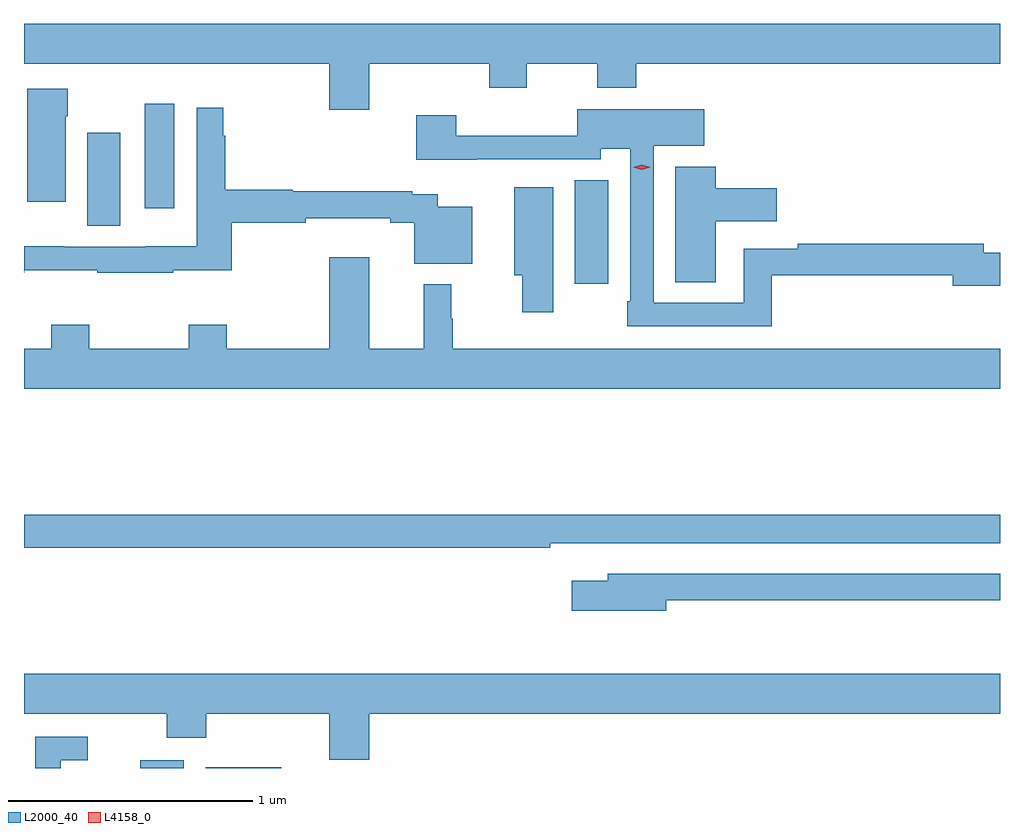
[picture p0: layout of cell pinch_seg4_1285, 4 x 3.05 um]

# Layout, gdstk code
import gdstk
lib = gdstk.Library(unit=1e-6, precision=1e-09)
def R(c, l, rs):  # rectangles x0, y0, x1, y1
    for r in rs: c.add(gdstk.rectangle(r[:2], r[2:], *l))
def P(c, l, *ps):  # polygons
    for p in ps: c.add(gdstk.Polygon(p, *l))
L2000_40 = (2000, 40)
L4158_0 = (4158, 0)

pinch_seg4_1285 = lib.new_cell('pinch_seg4_1285')
R(pinch_seg4_1285, L2000_40, [(284.114,773.953,284.293,773.986), (284.382,773.953,284.692,773.958), (285.896,775.938,286.033,776.363), (283.898,776.176,284.032,776.557), (284.132,776.247,284.254,776.677)])
P(pinch_seg4_1285, L2000_40, [(285.052,776.84),(285.544,776.84),(285.544,776.741),(285.699,776.741),(285.699,776.84),(285.988,776.84),(285.988,776.741),(286.148,776.741),(286.148,776.84),(287.638,776.84),(287.638,777.004),(283.638,777.004),(283.638,776.84),(284.888,776.84),(284.888,776.652),(285.052,776.652)],
  [(283.81,776.624),(283.818,776.624),(283.818,776.737),(283.652,776.737),(283.652,776.274),(283.81,776.274)],
  [(283.639,775.993),(283.939,775.993),(283.939,775.983),(284.249,775.983),(284.249,775.993),(284.489,775.993),(284.489,776.188),(284.792,776.188),(284.792,776.207),(285.14,776.207),(285.14,776.188),(285.237,776.188),(285.237,776.021),(285.475,776.021),(285.475,776.254),(285.333,776.254),(285.333,776.305),(285.23,776.305),(285.23,776.317),(284.739,776.317),(284.739,776.324),(284.462,776.324),(284.462,776.546),(284.455,776.546),(284.455,776.659),(284.346,776.659),(284.346,776.092),(284.136,776.092),(284.136,776.091),(283.802,776.091),(283.802,776.093),(283.638,776.093),(283.638,775.983),(283.639,775.983)],
  [(286.703,775.974),(287.444,775.974),(287.444,775.931),(287.638,775.931),(287.638,776.066),(287.572,776.066),(287.572,776.102),(286.81,776.102),(286.81,776.082),(286.587,776.082),(286.587,775.86),(286.218,775.86),(286.218,776.504),(286.426,776.504),(286.426,776.653),(285.906,776.653),(285.906,776.546),(285.41,776.546),(285.41,776.629),(285.245,776.629),(285.245,776.447),(285.493,776.447),(285.493,776.448),(286.002,776.448),(286.002,776.492),(286.122,776.492),(286.122,775.867),(286.11,775.867),(286.11,775.764),(286.703,775.764)],
  [(286.474,776.195),(286.723,776.195),(286.723,776.33),(286.474,776.33),(286.474,776.419),(286.307,776.419),(286.307,775.945),(286.474,775.945)],
  [(285.808,776.335),(285.647,776.335),(285.647,775.973),(285.679,775.973),(285.679,775.821),(285.808,775.821)],
  [(284.888,776.047),(284.888,775.672),(284.469,775.672),(284.469,775.771),(284.314,775.771),(284.314,775.672),(283.905,775.672),(283.905,775.771),(283.75,775.771),(283.75,775.672),(283.638,775.672),(283.638,775.508),(287.638,775.508),(287.638,775.672),(285.395,775.672),(285.395,775.796),(285.388,775.796),(285.388,775.936),(285.277,775.936),(285.277,775.672),(285.052,775.672),(285.052,776.047)],
  [(285.794,774.876),(287.638,774.876),(287.638,774.992),(283.638,774.992),(283.638,774.856),(285.794,774.856)],
  [(286.27,774.642),(287.638,774.642),(287.638,774.75),(286.031,774.75),(286.031,774.721),(285.882,774.721),(285.882,774.599),(286.27,774.599)],
  [(285.052,774.176),(287.638,774.176),(287.638,774.34),(283.638,774.34),(283.638,774.176),(284.224,774.176),(284.224,774.077),(284.384,774.077),(284.384,774.176),(284.888,774.176),(284.888,773.988),(285.052,773.988)],
  [(283.789,773.985),(283.9,773.985),(283.9,774.081),(283.685,774.081),(283.685,773.953),(283.789,773.953)])
P(pinch_seg4_1285, L4158_0, [(286.169,776.406),(286.134,776.416),(286.134,776.416),(286.134,776.417),(286.169,776.426),(286.204,776.417),(286.204,776.416),(286.204,776.416)])

lib.write_gds('pinch_seg4_1285.gds')
